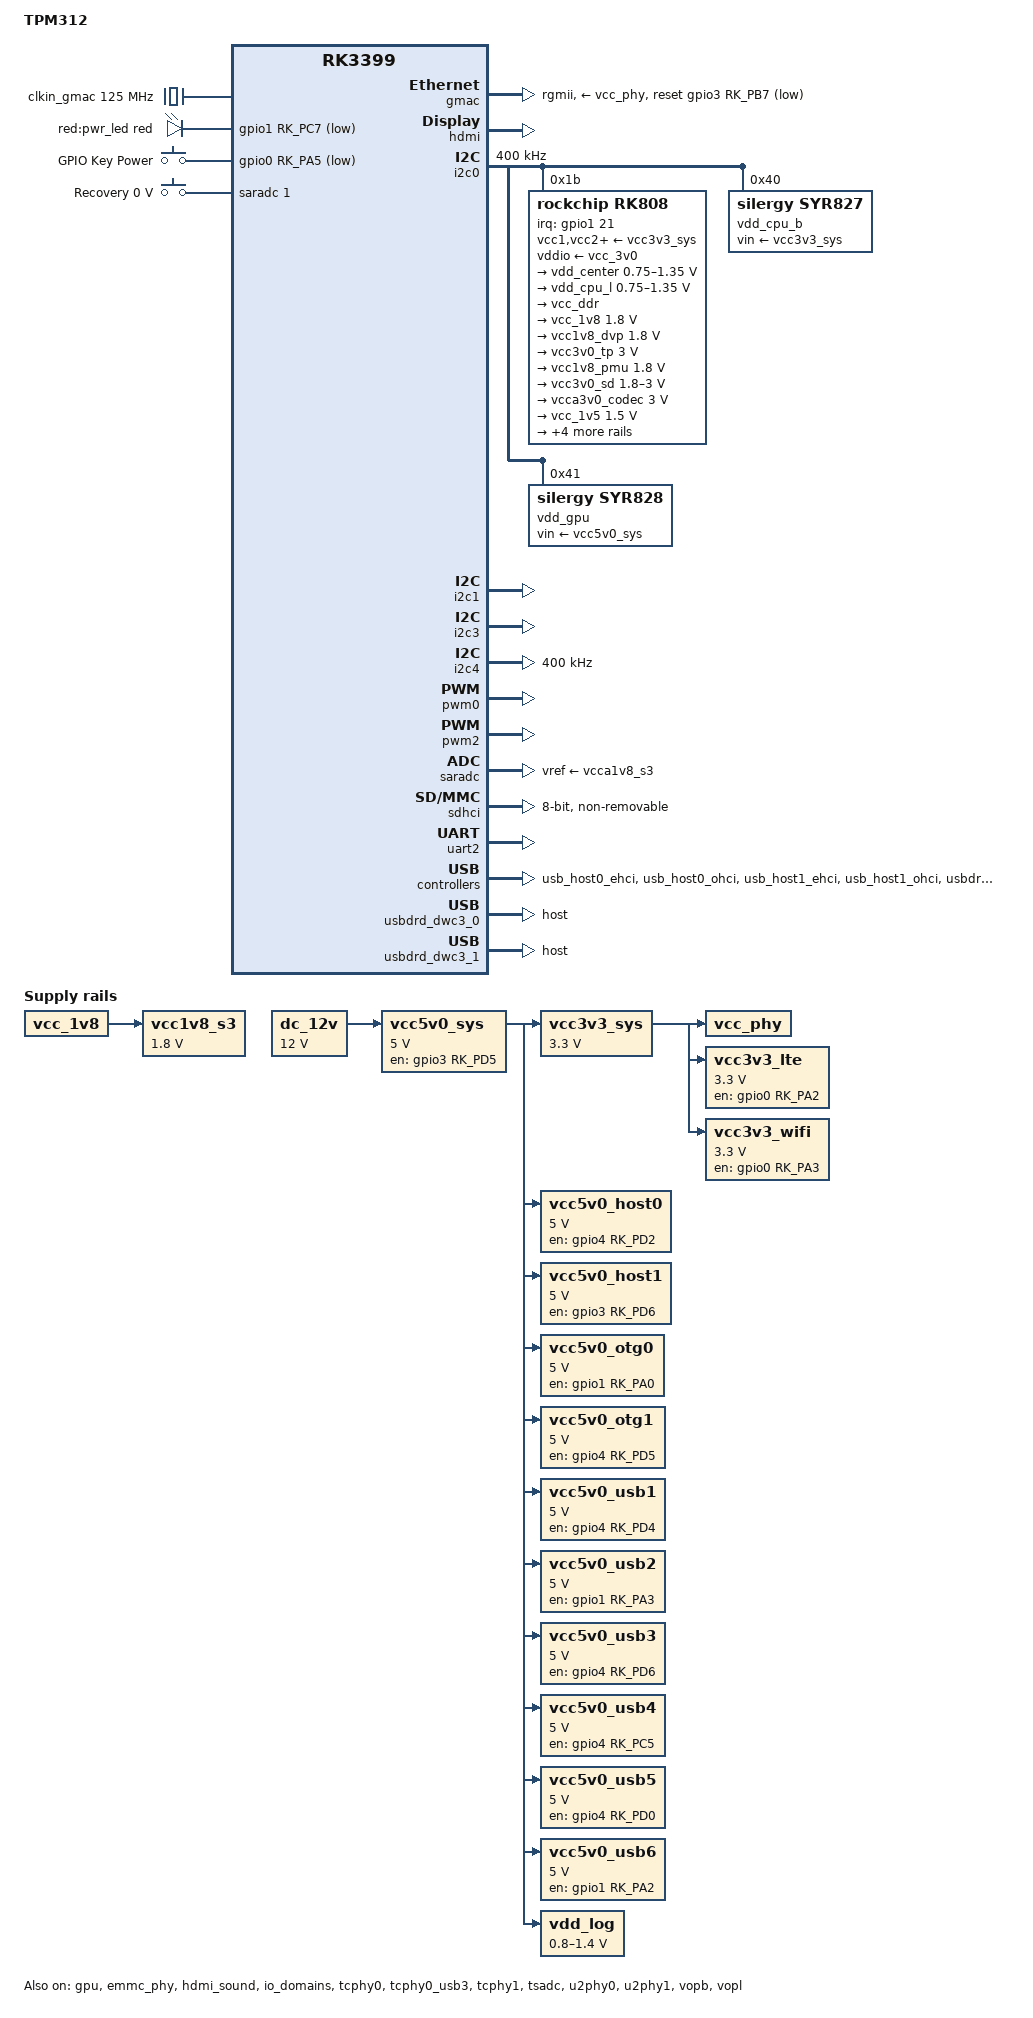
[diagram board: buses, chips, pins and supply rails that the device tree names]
// SPDX-License-Identifier: (GPL-2.0+ OR MIT)
/dts-v1/;

#include <dt-bindings/pwm/pwm.h>
#include <dt-bindings/input/linux-event-codes.h>
#include <dt-bindings/input/input.h>
#include <dt-bindings/leds/common.h>
#include "rk3399.dtsi"
#include "rk3399-opp.dtsi"

/ {
	model = "TPM312";
	compatible = "rockchip,rk3399";

	aliases {
		ethernet0 = &gmac;
		mmc0 = &sdhci;
	};

	chosen {
		stdout-path = "serial2:1500000n8";
	};

	clkin_gmac: external-gmac-clock {
		compatible = "fixed-clock";
		clock-frequency = <125000000>;
		clock-output-names = "clkin_gmac";
		#clock-cells = <0>;
	};

	dc_12v: dc-12v {
		compatible = "regulator-fixed";
		regulator-name = "dc_12v";
		regulator-always-on;
		regulator-boot-on;
		regulator-min-microvolt = <12000000>;
		regulator-max-microvolt = <12000000>;
	};

	/* switched by pmic_sleep */
	vcc1v8_s3: vcca1v8_s3: vcc1v8-s3 {
		compatible = "regulator-fixed";
		regulator-name = "vcc1v8_s3";
		regulator-always-on;
		regulator-boot-on;
		regulator-min-microvolt = <1800000>;
		regulator-max-microvolt = <1800000>;
		vin-supply = <&vcc_1v8>;
	};

	vcc3v3_sys: vcc3v3-sys {
		compatible = "regulator-fixed";
		regulator-name = "vcc3v3_sys";
		regulator-always-on;
		regulator-boot-on;
		regulator-min-microvolt = <3300000>;
		regulator-max-microvolt = <3300000>;
		vin-supply = <&vcc5v0_sys>;
	};

	vcc_phy: vcc-phy-regulator {
		compatible = "regulator-fixed";
		regulator-always-on;
		regulator-boot-on;
		regulator-name = "vcc_phy";
		vin-supply = <&vcc3v3_sys>;
	};

	vcc5v0_host0: vcc5v0-host0-regulator {
		compatible = "regulator-fixed";
		enable-active-high;
		gpio = <&gpio4 RK_PD2 GPIO_ACTIVE_HIGH>;
		pinctrl-names = "default";
		pinctrl-0 = <&vcc5v0_host0_en>;
		regulator-name = "vcc5v0_host0";
		regulator-always-on;
		regulator-boot-on;
		regulator-min-microvolt = <5000000>;
		regulator-max-microvolt = <5000000>;
		vin-supply = <&vcc5v0_sys>;
	};

	vcc5v0_host1: vcc5v0-host1-regulator {
		compatible = "regulator-fixed";
		enable-active-high;
		gpio = <&gpio3 RK_PD6 GPIO_ACTIVE_HIGH>;
		pinctrl-names = "default";
		pinctrl-0 = <&vcc5v0_host1_en>;
		regulator-name = "vcc5v0_host1";
		regulator-always-on;
		regulator-boot-on;
		regulator-min-microvolt = <5000000>;
		regulator-max-microvolt = <5000000>;
		vin-supply = <&vcc5v0_sys>;
	};

	vcc5v0_otg0: vcc5v0-otg0-regulator {
		compatible = "regulator-fixed";
		enable-active-high;
		gpio = <&gpio1 RK_PA0 GPIO_ACTIVE_HIGH>;
		pinctrl-names = "default";
		pinctrl-0 = <&vcc5v0_otg0_en>;
		regulator-name = "vcc5v0_otg0";
		regulator-always-on;
		regulator-boot-on;
		regulator-min-microvolt = <5000000>;
		regulator-max-microvolt = <5000000>;
		vin-supply = <&vcc5v0_sys>;
	};

	vcc5v0_otg1: vcc5v0-otg1-regulator {
		compatible = "regulator-fixed";
		enable-active-high;
		gpio = <&gpio4 RK_PD5 GPIO_ACTIVE_HIGH>;
		pinctrl-names = "default";
		pinctrl-0 = <&vcc5v0_otg1_en>;
		regulator-name = "vcc5v0_otg1";
		regulator-always-on;
		regulator-boot-on;
		regulator-min-microvolt = <5000000>;
		regulator-max-microvolt = <5000000>;
		vin-supply = <&vcc5v0_sys>;
	};

	vcc3v3_lte: vcc3v3-lte-regulator {
		compatible = "regulator-fixed";
		enable-active-high;
		gpio = <&gpio0 RK_PA2 GPIO_ACTIVE_HIGH>;
		pinctrl-names = "default";
		pinctrl-0 = <&vcc3v3_lte_en>;
		regulator-name = "vcc3v3_lte";
		regulator-always-on;
		regulator-boot-on;
		regulator-min-microvolt = <3300000>;
		regulator-max-microvolt = <3300000>;
		vin-supply = <&vcc3v3_sys>;
	};

	vcc3v3_wifi: vcc3v3-wifi-regulator {
		compatible = "regulator-fixed";
		enable-active-high;
		gpio = <&gpio0 RK_PA3 GPIO_ACTIVE_HIGH>;
		pinctrl-names = "default";
		pinctrl-0 = <&vcc3v3_wifi_en>;
		regulator-name = "vcc3v3_wifi";
		regulator-always-on;
		regulator-boot-on;
		regulator-min-microvolt = <3300000>;
		regulator-max-microvolt = <3300000>;
		vin-supply = <&vcc3v3_sys>;
	};

	vcc5v0_usb1: vcc5v0-usb1-regulator {
		compatible = "regulator-fixed";
		enable-active-high;
		gpio = <&gpio4 RK_PD4 GPIO_ACTIVE_HIGH>;
		pinctrl-names = "default";
		pinctrl-0 = <&vcc5v0_usb1_en>;
		regulator-name = "vcc5v0_usb1";
		regulator-always-on;
		regulator-boot-on;
		regulator-min-microvolt = <5000000>;
		regulator-max-microvolt = <5000000>;
		vin-supply = <&vcc5v0_sys>;
	};

	vcc5v0_usb2: vcc5v0-usb2-regulator {
		compatible = "regulator-fixed";
		enable-active-high;
		gpio = <&gpio1 RK_PA3 GPIO_ACTIVE_HIGH>;
		pinctrl-names = "default";
		pinctrl-0 = <&vcc5v0_usb2_en>;
		regulator-name = "vcc5v0_usb2";
		regulator-always-on;
		regulator-boot-on;
		regulator-min-microvolt = <5000000>;
		regulator-max-microvolt = <5000000>;
		vin-supply = <&vcc5v0_sys>;
	};

	vcc5v0_usb3: vcc5v0-usb3-regulator {
		compatible = "regulator-fixed";
		enable-active-high;
		gpio = <&gpio4 RK_PD6 GPIO_ACTIVE_HIGH>;
		pinctrl-names = "default";
		pinctrl-0 = <&vcc5v0_usb3_en>;
		regulator-name = "vcc5v0_usb3";
		regulator-always-on;
		regulator-boot-on;
		regulator-min-microvolt = <5000000>;
		regulator-max-microvolt = <5000000>;
		vin-supply = <&vcc5v0_sys>;
	};

	vcc5v0_usb4: vcc5v0-usb4-regulator {
		compatible = "regulator-fixed";
		enable-active-high;
		gpio = <&gpio4 RK_PC5 GPIO_ACTIVE_HIGH>;
		pinctrl-names = "default";
		pinctrl-0 = <&vcc5v0_usb4_en>;
		regulator-name = "vcc5v0_usb4";
		regulator-always-on;
		regulator-boot-on;
		regulator-min-microvolt = <5000000>;
		regulator-max-microvolt = <5000000>;
		vin-supply = <&vcc5v0_sys>;
	};

	vcc5v0_usb5: vcc5v0-usb5-regulator {
		compatible = "regulator-fixed";
		enable-active-high;
		gpio = <&gpio4 RK_PD0 GPIO_ACTIVE_HIGH>;
		pinctrl-names = "default";
		pinctrl-0 = <&vcc5v0_usb5_en>;
		regulator-name = "vcc5v0_usb5";
		regulator-always-on;
		regulator-boot-on;
		regulator-min-microvolt = <5000000>;
		regulator-max-microvolt = <5000000>;
		vin-supply = <&vcc5v0_sys>;
	};

	vcc5v0_usb6: vcc5v0-usb6-regulator {
		compatible = "regulator-fixed";
		enable-active-high;
		gpio = <&gpio1 RK_PA2 GPIO_ACTIVE_HIGH>;
		pinctrl-names = "default";
		pinctrl-0 = <&vcc5v0_usb6_en>;
		regulator-name = "vcc5v0_usb6";
		regulator-always-on;
		regulator-boot-on;
		regulator-min-microvolt = <5000000>;
		regulator-max-microvolt = <5000000>;
		vin-supply = <&vcc5v0_sys>;
	};

	vcc5v0_sys: vcc-sys {
		compatible = "regulator-fixed";
		enable-active-high;
		gpio = <&gpio3 RK_PD5 GPIO_ACTIVE_HIGH>;
		pinctrl-names = "default";
		pinctrl-0 = <&vcc5v0_sys_en>;
		regulator-name = "vcc5v0_sys";
		regulator-always-on;
		regulator-boot-on;
		regulator-min-microvolt = <5000000>;
		regulator-max-microvolt = <5000000>;
		vin-supply = <&dc_12v>;
	};

	vdd_log: vdd-log {
		compatible = "pwm-regulator";
		pwms = <&pwm2 0 25000 1>;
		regulator-name = "vdd_log";
		regulator-always-on;
		regulator-boot-on;
		regulator-min-microvolt = <800000>;
		regulator-max-microvolt = <1400000>;
		vin-supply = <&vcc5v0_sys>;
	};

	leds: gpio-leds {
		compatible = "gpio-leds";
		pinctrl-names = "default";
		pinctrl-0 = <&pwr_led_pin>;
		pwr_led: pwr-led {
			label = "red:pwr_led";
			color = <LED_COLOR_ID_RED>;
			gpios = <&gpio1 RK_PC7 GPIO_ACTIVE_LOW>; // bsp
			linux,default-trigger = "heartbeat";
		};
	};

	// fan0: gpio-fan {
	// 	#cooling-cells = <2>;
	// 	compatible = "gpio-fan";
	// 	gpio-fan,speed-map = <0 0 3000 1>;
	// 	gpios = <&gpio2 RK_PA3 GPIO_ACTIVE_HIGH>;
	// 	status = "okay";
	// };

	gpio-keys {
		compatible = "gpio-keys";
		autorepeat;
		pinctrl-names = "default";
		pinctrl-0 = <&power_key>;

		key-power {
			debounce-interval = <100>;
			gpios = <&gpio0 RK_PA5 GPIO_ACTIVE_LOW>;
			label = "GPIO Key Power";
			linux,code = <KEY_POWER>;
			wakeup-source;
		};
	};

	adc-keys {
		compatible = "adc-keys";
		io-channels = <&saradc 1>;
		io-channel-names = "buttons";
		keyup-threshold-microvolt = <1750000>;
		poll-interval = <100>;

		recovery {
			label = "Recovery";
			linux,code = <KEY_VENDOR>;
			press-threshold-microvolt = <0>;
		};
	};

};

&cpu_l0 {
	cpu-supply = <&vdd_cpu_l>;
};

&cpu_l1 {
	cpu-supply = <&vdd_cpu_l>;
};

&cpu_l2 {
	cpu-supply = <&vdd_cpu_l>;
};

&cpu_l3 {
	cpu-supply = <&vdd_cpu_l>;
};

&cpu_b0 {
	cpu-supply = <&vdd_cpu_b>;
};

&cpu_b1 {
	cpu-supply = <&vdd_cpu_b>;
};

&gpu {
	mali-supply = <&vdd_gpu>;
	status = "okay";
};

// &cpu_thermal {
// 	trips {
// 		cpu_hot: cpu_hot {
// 			hysteresis = <10000>;
// 			temperature = <55000>;
// 			type = "active";
// 		};
// 	};

// 	cooling-maps {
// 		map2 {
// 			cooling-device = <&fan0 THERMAL_NO_LIMIT THERMAL_NO_LIMIT>;
// 			trip = <&cpu_hot>;
// 		};
// 	};
// };

&emmc_phy {
	status = "okay";
};

&gmac {
	assigned-clocks = <&cru SCLK_RMII_SRC>;
	assigned-clock-parents = <&clkin_gmac>;
	clock_in_out = "input";
	phy-supply = <&vcc_phy>;
	phy-mode = "rgmii";
	pinctrl-names = "default";
	pinctrl-0 = <&rgmii_pins>;
	snps,reset-gpio = <&gpio3 RK_PB7 GPIO_ACTIVE_LOW>;
	snps,reset-active-low;
	snps,reset-delays-us = <0 10000 50000>;
	tx_delay = <0x28>;
	rx_delay = <0x11>;
	status = "okay";
};

&hdmi {
	ddc-i2c-bus = <&i2c3>;
	pinctrl-names = "default";
	pinctrl-0 = <&hdmi_cec>;
	status = "okay";
};

&hdmi_sound {
	status = "okay";
};

&i2c0 {
	clock-frequency = <400000>;
	i2c-scl-rising-time-ns = <168>;
	i2c-scl-falling-time-ns = <4>;
	status = "okay";

	rk808: pmic@1b {
		compatible = "rockchip,rk808";
		reg = <0x1b>;
		interrupt-parent = <&gpio1>;
		interrupts = <21 IRQ_TYPE_LEVEL_LOW>;
		#clock-cells = <1>;
		clock-output-names = "xin32k", "rk808-clkout2";
		pinctrl-names = "default";
		pinctrl-0 = <&pmic_int_l &pmic_dvs2>;
		rockchip,system-power-controller;
		wakeup-source;

		vcc1-supply = <&vcc3v3_sys>;
		vcc2-supply = <&vcc3v3_sys>;
		vcc3-supply = <&vcc3v3_sys>;
		vcc4-supply = <&vcc3v3_sys>;
		vcc6-supply = <&vcc3v3_sys>;
		vcc7-supply = <&vcc3v3_sys>;
		vcc8-supply = <&vcc3v3_sys>;
		vcc9-supply = <&vcc3v3_sys>;
		vcc10-supply = <&vcc3v3_sys>;
		vcc11-supply = <&vcc3v3_sys>;
		vcc12-supply = <&vcc3v3_sys>;
		vddio-supply = <&vcc_3v0>;

		regulators {
			vdd_center: DCDC_REG1 {
				regulator-name = "vdd_center";
				regulator-always-on;
				regulator-boot-on;
				regulator-min-microvolt = <750000>;
				regulator-max-microvolt = <1350000>;
				regulator-ramp-delay = <6001>;
				regulator-state-mem {
					regulator-off-in-suspend;
				};
			};

			vdd_cpu_l: DCDC_REG2 {
				regulator-name = "vdd_cpu_l";
				regulator-always-on;
				regulator-boot-on;
				regulator-min-microvolt = <750000>;
				regulator-max-microvolt = <1350000>;
				regulator-ramp-delay = <6001>;
				regulator-state-mem {
					regulator-off-in-suspend;
				};
			};

			vcc_ddr: DCDC_REG3 {
				regulator-name = "vcc_ddr";
				regulator-always-on;
				regulator-boot-on;
				regulator-state-mem {
					regulator-on-in-suspend;
				};
			};

			vcc_1v8: DCDC_REG4 {
				regulator-name = "vcc_1v8";
				regulator-always-on;
				regulator-boot-on;
				regulator-min-microvolt = <1800000>;
				regulator-max-microvolt = <1800000>;
				regulator-state-mem {
					regulator-on-in-suspend;
					regulator-suspend-microvolt = <1800000>;
				};
			};

			vcc1v8_dvp: LDO_REG1 {
				regulator-name = "vcc1v8_dvp";
				regulator-always-on;
				regulator-boot-on;
				regulator-min-microvolt = <1800000>;
				regulator-max-microvolt = <1800000>;
				regulator-state-mem {
					regulator-on-in-suspend;
					regulator-suspend-microvolt = <1800000>;
				};
			};

			vcc3v0_tp: LDO_REG2 {
				regulator-always-on;
				regulator-boot-on;
				regulator-min-microvolt = <3000000>;
				regulator-max-microvolt = <3000000>;
				regulator-name = "vcc3v0_tp";

				regulator-state-mem {
					regulator-off-in-suspend;
				};
			};

			vcc1v8_pmu: LDO_REG3 {
				regulator-name = "vcc1v8_pmu";
				regulator-always-on;
				regulator-boot-on;
				regulator-min-microvolt = <1800000>;
				regulator-max-microvolt = <1800000>;
				regulator-state-mem {
					regulator-on-in-suspend;
					regulator-suspend-microvolt = <1800000>;
				};
			};

			vcc3v0_sd: LDO_REG4 {
				regulator-name = "vcc3v0_sd";
				regulator-always-on;
				regulator-boot-on;
				regulator-min-microvolt = <1800000>;
				regulator-max-microvolt = <3000000>;
				regulator-state-mem {
					regulator-on-in-suspend;
					regulator-suspend-microvolt = <3000000>;
				};
			};

			vcca3v0_codec: LDO_REG5 {
				regulator-name = "vcca3v0_codec";
				regulator-always-on;
				regulator-boot-on;
				regulator-min-microvolt = <3000000>;
				regulator-max-microvolt = <3000000>;
				regulator-state-mem {
					regulator-off-in-suspend;
				};
			};

			vcc_1v5: LDO_REG6 {
				regulator-name = "vcc_1v5";
				regulator-always-on;
				regulator-boot-on;
				regulator-min-microvolt = <1500000>;
				regulator-max-microvolt = <1500000>;
				regulator-state-mem {
					regulator-on-in-suspend;
					regulator-suspend-microvolt = <1500000>;
				};
			};

			vcca1v8_codec: LDO_REG7 {
				regulator-name = "vcca1v8_codec";
				regulator-always-on;
				regulator-boot-on;
				regulator-min-microvolt = <1800000>;
				regulator-max-microvolt = <1800000>;
				regulator-state-mem {
					regulator-off-in-suspend;
				};
			};

			vcc_3v0: LDO_REG8 {
				regulator-name = "vcc_3v0";
				regulator-always-on;
				regulator-boot-on;
				regulator-min-microvolt = <3000000>;
				regulator-max-microvolt = <3000000>;
				regulator-state-mem {
					regulator-on-in-suspend;
					regulator-suspend-microvolt = <3000000>;
				};
			};

			vcc3v3_s3: SWITCH_REG1 {
				regulator-name = "vcc3v3_s3";
				regulator-always-on;
				regulator-boot-on;
				regulator-state-mem {
					regulator-on-in-suspend;
				};
			};

			vcc3v3_s0: SWITCH_REG2 {
				regulator-name = "vcc3v3_s0";
				regulator-always-on;
				regulator-boot-on;
				regulator-state-mem {
					regulator-on-in-suspend;
				};
			};
		};
	};

	vdd_cpu_b: regulator@40 {
		compatible = "silergy,syr827";
		reg = <0x40>;
		fcs,suspend-voltage-selector = <1>;
		pinctrl-names = "default";
		pinctrl-0 = <&cpu_b_sleep>;
		regulator-name = "vdd_cpu_b";
		regulator-min-microvolt = <712500>;
		regulator-max-microvolt = <1500000>;
		regulator-ramp-delay = <1000>;
		regulator-always-on;
		regulator-boot-on;
		vin-supply = <&vcc3v3_sys>;

		regulator-state-mem {
			regulator-off-in-suspend;
		};
	};

	vdd_gpu: regulator@41 {
		compatible = "silergy,syr828";
		reg = <0x41>;
		fcs,suspend-voltage-selector = <1>;
		pinctrl-names = "default";
		pinctrl-0 = <&gpu_sleep>;
		regulator-name = "vdd_gpu";
		regulator-min-microvolt = <712500>;
		regulator-max-microvolt = <1500000>;
		regulator-ramp-delay = <1000>;
		regulator-always-on;
		regulator-boot-on;
		vin-supply = <&vcc5v0_sys>;

		regulator-state-mem {
			regulator-off-in-suspend;
		};
	};
};

&i2c1 {
	i2c-scl-rising-time-ns = <450>;
	i2c-scl-falling-time-ns = <15>;
	status = "okay";
};

// Used for HDMI
&i2c3 {
	i2c-scl-rising-time-ns = <450>;
	i2c-scl-falling-time-ns = <15>;
	status = "okay";
};

&i2c4 {
	clock-frequency = <400000>;
	i2c-scl-rising-time-ns = <450>;
	i2c-scl-falling-time-ns = <15>;
	status = "okay";
};

// &i2s0 {
// 	rockchip,playback-channels = <8>;
// 	rockchip,capture-channels = <8>;
// 	status = "okay";
// };

&io_domains {
	status = "okay";

	bt656-supply = <&vcc1v8_dvp>;
	audio-supply = <&vcca1v8_codec>;
	sdmmc-supply = <&vcc3v0_sd>;
	gpio1830-supply = <&vcc_3v0>;
};

&pmu_io_domains {
	status = "okay";
	pmu1830-supply = <&vcc_3v0>;
};

&pinctrl {
	panel {
		bl_en: bl-en {
			rockchip,pins = <4 RK_PD3 RK_FUNC_GPIO &pcfg_pull_none>; // bsp
		};

		mipi_rst: mipi-rst {
			rockchip,pins = <2 RK_PB4 RK_FUNC_GPIO &pcfg_pull_none>; // bsp
		};

		mipi_en: mipi-en {
			rockchip,pins = <2 RK_PA6 RK_FUNC_GPIO &pcfg_pull_none>; // bsp
		};

		vcc12v0_mipi_en: vcc12v0-mipi-en {
			rockchip,pins = <2 RK_PA5 RK_FUNC_GPIO &pcfg_pull_none>; // bsp
		};
	};

	pmic {
		cpu_b_sleep: cpu-b-sleep {
			rockchip,pins = <1 RK_PC1 RK_FUNC_GPIO &pcfg_pull_down>; // bsp
		};

		gpu_sleep: gpu-sleep {
			rockchip,pins = <1 RK_PB6 RK_FUNC_GPIO &pcfg_pull_down>; // bsp
		};

		pmic_int_l: pmic-int-l {
			rockchip,pins = <1 RK_PC6 RK_FUNC_GPIO &pcfg_pull_up>; // bsp
		};

		pmic_dvs2: pmic-dvs2 {
			rockchip,pins = <1 RK_PA5 RK_FUNC_GPIO &pcfg_pull_down>; // bsp
		};
	};

	usb2 {
		vcc5v0_host0_en: vcc5v0-host0-en {
			rockchip,pins = <4 RK_PD2 RK_FUNC_GPIO &pcfg_pull_none>; // bsp
		};
		vcc5v0_host1_en: vcc5v0-host1-en {
			rockchip,pins = <3 RK_PD6 RK_FUNC_GPIO &pcfg_pull_none>; // bsp
		};
		vcc5v0_otg0_en: vcc5v0-otg0-en {
			rockchip,pins = <1 RK_PA0 RK_FUNC_GPIO &pcfg_pull_none>; // bsp
		};
		vcc5v0_otg1_en: vcc5v0-otg1-en {
			rockchip,pins = <4 RK_PD5 RK_FUNC_GPIO &pcfg_pull_none>; // bsp
		};
		vcc3v3_lte_en: vcc3v3-lte-en {
			rockchip,pins = <0 RK_PA2 RK_FUNC_GPIO &pcfg_pull_none>; // bsp
		};
		lte_rst: lte-rst {
			rockchip,pins = <1 RK_PA4 RK_FUNC_GPIO &pcfg_pull_none>; // bsp
		};

		vcc5v0_usb1_en: vcc5v0-usb1-en {
			rockchip,pins = <4 RK_PD4 RK_FUNC_GPIO &pcfg_pull_none>; // bsp
		};
		vcc5v0_usb2_en: vcc5v0-usb2-en {
			rockchip,pins = <1 RK_PA3 RK_FUNC_GPIO &pcfg_pull_none>; // bsp
		};
		vcc5v0_usb3_en: vcc5v0-usb3-en {
			rockchip,pins = <4 RK_PD6 RK_FUNC_GPIO &pcfg_pull_none>; // bsp
		};
		vcc5v0_usb4_en: vcc5v0-usb4-en {
			rockchip,pins = <4 RK_PC5 RK_FUNC_GPIO &pcfg_pull_none>; // bsp
		};
		vcc5v0_usb5_en: vcc5v0-usb5-en {
			rockchip,pins = <4 RK_PD0 RK_FUNC_GPIO &pcfg_pull_none>; // bsp
		};
		vcc5v0_usb6_en: vcc5v0-usb6-en {
			rockchip,pins = <1 RK_PA2 RK_FUNC_GPIO &pcfg_pull_none>; // bsp
		};
	};

	vcc {
		vcc5v0_sys_en: vcc5v0-sys-en {
			rockchip,pins = <3 RK_PD5 RK_FUNC_GPIO &pcfg_pull_none>; // bsp
		};
	};

	wifi {
		vcc3v3_wifi_en: vcc3v3-wifi-en {
			rockchip,pins = <0 RK_PA3 RK_FUNC_GPIO &pcfg_pull_none>; // bsp
		};
	};

	leds {
		pwr_led_pin: pwr-led-pin {
			rockchip,pins = <1 RK_PC7 RK_FUNC_GPIO &pcfg_pull_none>; // bsp
		};
	};

	buttons {
		power_key: power_key {
			rockchip,pins = <0 RK_PA5 RK_FUNC_GPIO &pcfg_pull_up>; // bsp
		};
	};

	headphone {
		spk_ctl: spk-ctl {
			rockchip,pins = <4 RK_PD1 RK_FUNC_GPIO &pcfg_pull_none>; // bsp
		};
	};

	func_gpio {
		mpu6500_irq: mpu6500-irq {
			rockchip,pins = <1 RK_PC6 RK_FUNC_GPIO &pcfg_pull_none>; // bsp
		};

		touch_irq: touch-irq {
			rockchip,pins = <1 RK_PC2 RK_FUNC_GPIO &pcfg_pull_none>; // bsp
		};

		touch_rst: touch-rst {
			rockchip,pins = <1 RK_PD0 RK_FUNC_GPIO &pcfg_pull_none>; // bsp
		};

		isp_rst: isp-rst {
			rockchip,pins = <1 RK_PA3 RK_FUNC_GPIO &pcfg_pull_none>; // bsp
		};

		wk2124_irq: wk2124-irq {
			rockchip,pins = <3 RK_PD4 RK_FUNC_GPIO &pcfg_pull_none>; // bsp
		};

		wk2_rst: wk2-rst {
			rockchip,pins = <2 RK_PC2 RK_FUNC_GPIO &pcfg_pull_none>; // bsp
		};
	};
};

&pwm0 {
	status = "okay";
};

&pwm2 {
	status = "okay";
};

&saradc {
	vref-supply = <&vcca1v8_s3>;
	status = "okay";
};

&sdhci {
	bus-width = <8>;
	mmc-hs400-1_8v;
	mmc-hs400-enhanced-strobe;
	keep-power-in-suspend;
	non-removable;
	status = "okay";
};

&tcphy0 {
	status = "okay";
};

&tcphy0_usb3 {
	status = "okay";
};

&tcphy1 {
	status = "okay";
};

&tsadc {
	/* tshut mode 0:CRU 1:GPIO */
	rockchip,hw-tshut-mode = <1>;
	/* tshut polarity 0:LOW 1:HIGH */
	rockchip,hw-tshut-polarity = <1>;
	status = "okay";
};

&u2phy0 {
	status = "okay";

	u2phy0_otg: otg-port {
		status = "okay";
		phy-supply = <&vcc5v0_otg0>;
	};

	u2phy0_host: host-port {
		status = "okay";
		phy-supply = <&vcc5v0_host0>;
	};
};

&u2phy1 {
	status = "okay";

	u2phy1_otg: otg-port {
		status = "okay";
		phy-supply = <&vcc5v0_otg1>;
	};

	u2phy1_host: host-port {
		status = "okay";
		phy-supply = <&vcc5v0_host1>;
	};
};

// Debug TTL
&uart2 {
	status = "okay";
};

&usb_host0_ehci {
	status = "okay";
};

&usb_host0_ohci {
	status = "okay";
};

&usb_host1_ehci {
	status = "okay";
};

&usb_host1_ohci {
	status = "okay";
};

&usbdrd3_0 {
	status = "okay";
};

&usbdrd_dwc3_0 {
	status = "okay";
	dr_mode = "host";
};

&usbdrd3_1 {
	status = "okay";
};

&usbdrd_dwc3_1 {
	status = "okay";
	dr_mode = "host";
};

&vopb {
	status = "okay";
};

&vopb_mmu {
	status = "okay";
};

&vopl {
	status = "okay";
};

&vopl_mmu {
	status = "okay";
};

&iep_mmu {
	status = "okay";
};
